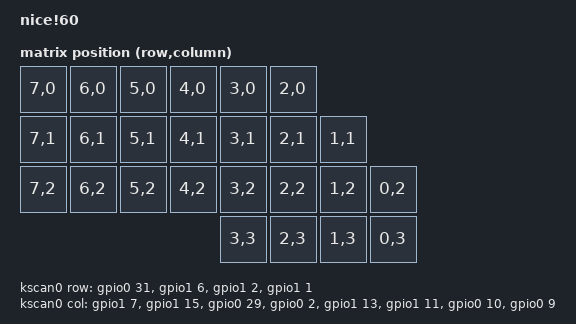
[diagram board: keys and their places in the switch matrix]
/*
 * Copyright (c) 2021 Nick Winans
 *
 * SPDX-License-Identifier: MIT
 */

/dts-v1/;
#include <nordic/nrf52840_qiaa.dtsi>
#include <common/nordic/nrf52840_uf2_boot_mode.dtsi>

#include <dt-bindings/led/led.h>
#include <dt-bindings/zmk/matrix_transform.h>

#include <layouts/common/60percent/ansi.dtsi>

#include "nice60-pinctrl.dtsi"

/ {
    model = "nice!60";
    compatible = "nice,60";

    chosen {
        zmk,kscan = &kscan0;
		zmk,matrix_transform = &default_transform;
    };
        default_transform: keymap_transform_0 {
        compatible = "zmk,matrix-transform";
        columns = <8>;
        rows = <4>;
        map = <
        RC(7,0) RC(6,0) RC(5,0) RC(4,0) RC(3,0) RC(2,0)
        RC(7,1) RC(6,1) RC(5,1) RC(4,1) RC(3,1) RC(2,1) RC(1,1)
        RC(7,2) RC(6,2) RC(5,2) RC(4,2) RC(3,2) RC(2,2) RC(1,2) RC(0,2)
                                        RC(3,3) RC(2,3) RC(1,3) RC(0,3)
        >;/*RC(fila,col)*/
    };

    kscan0: kscan {
        compatible = "zmk,kscan-gpio-matrix";
        wakeup-source;
        diode-direction = "col2row";
        row-gpios
            = <&gpio0 31  (GPIO_ACTIVE_HIGH | GPIO_PULL_DOWN)> /* fila 0 */
            , <&gpio1 6  (GPIO_ACTIVE_HIGH | GPIO_PULL_DOWN)> /* fila 1 */
            , <&gpio1 2 (GPIO_ACTIVE_HIGH | GPIO_PULL_DOWN)> /* fila 2 */
            , <&gpio1 1 (GPIO_ACTIVE_HIGH | GPIO_PULL_DOWN)> /* fila 3 */
            ;
        col-gpios
            = <&gpio1 7 GPIO_ACTIVE_HIGH> /* col 0 */
            , <&gpio1 15  GPIO_ACTIVE_HIGH> /* col 1 */
            , <&gpio0 29 GPIO_ACTIVE_HIGH> /* col 2 */
            , <&gpio0 2 GPIO_ACTIVE_HIGH> /* col 3 */
            , <&gpio1 13 GPIO_ACTIVE_HIGH> /* col 4 */
            , <&gpio1 11 GPIO_ACTIVE_HIGH> /* col 5 */
            , <&gpio0 10  GPIO_ACTIVE_HIGH> /* col 6 */
            , <&gpio0 9  GPIO_ACTIVE_HIGH> /* col 7 */
            ;
    };



    leds {
        compatible = "gpio-leds";
        blue_led: led_0 {
            gpios = <&gpio0 26 GPIO_ACTIVE_HIGH>;
        };
    };

    // Node name must match original "EXT_POWER" label to preserve user settings.
    EXT_POWER {
        compatible = "zmk,ext-power-generic";
        control-gpios = <&gpio0 5 GPIO_ACTIVE_LOW>;
    };

    vbatt: vbatt {
        compatible = "zmk,battery-voltage-divider";
        io-channels = <&adc 2>;
        output-ohms = <2000000>;
        full-ohms = <(2000000 + 806000)>;
    };
};

&reg1 {
    regulator-initial-mode = <NRF5X_REG_MODE_DCDC>;
};

&adc {
    status = "okay";
};

&gpiote {
    status = "okay";
};

&gpio0 {
    status = "okay";
};

&gpio1 {
    status = "okay";
};

&spi3 {
    compatible = "nordic,nrf-spim";

    pinctrl-0 = <&spi3_default>;
    pinctrl-1 = <&spi3_sleep>;
    pinctrl-names = "default", "sleep";
    status = "okay";

    led_strip: ws2812@0 {
        compatible = "worldsemi,ws2812-spi";

        /* SPI */
        reg = <0>; /* ignored, but necessary for SPI bindings */
        spi-max-frequency = <4000000>;

        /* WS2812 */
        chain-length = <12>; /* LED strip length */
        spi-one-frame = <0x70>;
        spi-zero-frame = <0x40>;
        color-mapping = <LED_COLOR_ID_GREEN LED_COLOR_ID_RED LED_COLOR_ID_BLUE>;
    };
};

zephyr_udc0: &usbd {
    status = "okay";
};

&flash0 {
    /*
     * For more information, see:
     * http://docs.zephyrproject.org/latest/devices/dts/flash_partitions.html
     */
    partitions {
        compatible = "fixed-partitions";
        #address-cells = <1>;
        #size-cells = <1>;

        sd_partition: partition@0 {
            reg = <0x00000000 0x00001000>;
        };

        code_partition: partition@1000 {
            reg = <0x00001000 0x000d3000>;
        };

        /*
         * The flash starting at 0x000d4000 and ending at
         * 0x000f3fff is reserved for use by the application.
         */

        /*
         * Storage partition will be used by FCB/LittleFS/NVS
         * if enabled.
         */
        storage_partition: partition@d4000 {
            reg = <0x000d4000 0x00020000>;
        };

        boot_partition: partition@f4000 {
            reg = <0x000f4000 0x0000c000>;
        };
    };
};

&layout_60_ansi {
    transform = <&default_transform>;
};
